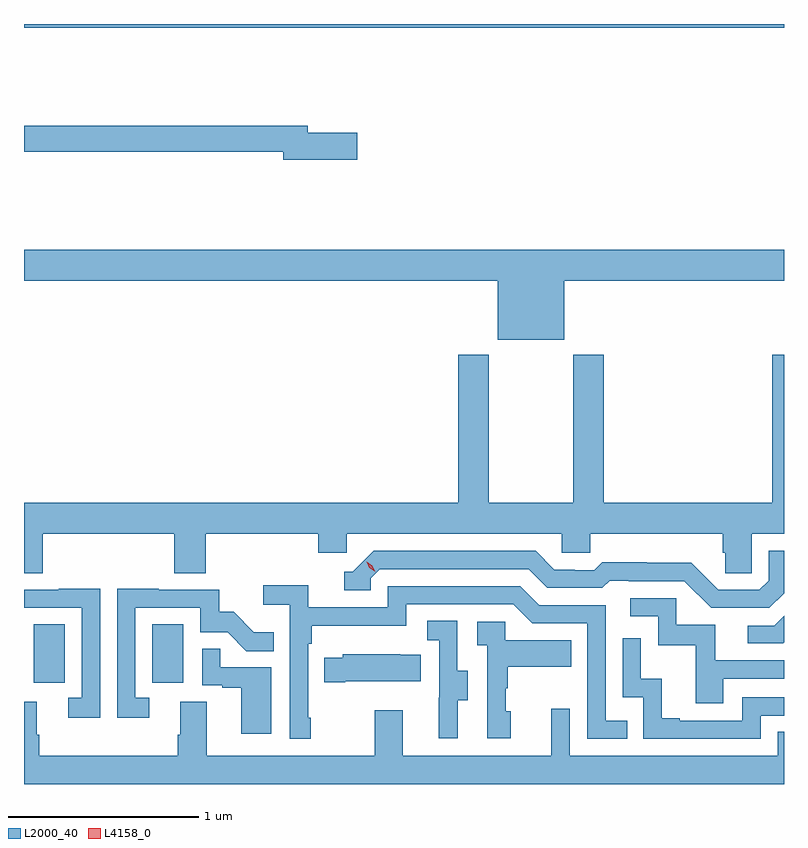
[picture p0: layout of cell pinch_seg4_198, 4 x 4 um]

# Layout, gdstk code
import gdstk
lib = gdstk.Library(unit=1e-6, precision=1e-09)
def R(c, l, rs):  # rectangles x0, y0, x1, y1
    for r in rs: c.add(gdstk.rectangle(r[:2], r[2:], *l))
def P(c, l, *ps):  # polygons
    for p in ps: c.add(gdstk.Polygon(p, *l))
L2000_40 = (2000, 40)
L4158_0 = (4158, 0)

pinch_seg4_198 = lib.new_cell('pinch_seg4_198')
R(pinch_seg4_198, L2000_40, [(975.218,817.35,975.382,817.657), (975.842,817.35,976.006,817.657), (975.167,820.796,979.167,820.816)])
P(pinch_seg4_198, L2000_40, [(976.921,820.244),(976.66,820.244),(976.66,820.28),(975.167,820.28),(975.167,820.144),(976.532,820.144),(976.532,820.102),(976.921,820.102)],
  [(978.01,819.464),(979.167,819.464),(979.167,819.628),(975.167,819.628),(975.167,819.464),(977.66,819.464),(977.66,819.155),(978.01,819.155)],
  [(975.167,817.924),(975.266,817.924),(975.266,818.132),(975.959,818.132),(975.959,817.924),(976.124,817.924),(976.124,818.132),(976.715,818.132),(976.715,818.034),(976.866,818.034),(976.866,818.132),(977.997,818.132),(977.997,818.034),(978.147,818.034),(978.147,818.132),(978.845,818.132),(978.845,818.034),(978.859,818.034),(978.859,817.924),(978.996,817.924),(978.996,818.132),(979.167,818.132),(979.167,819.075),(979.106,819.075),(979.106,818.296),(978.218,818.296),(978.218,819.076),(978.058,819.076),(978.058,818.296),(977.613,818.296),(977.613,819.076),(977.453,819.076),(977.453,818.296),(975.167,818.296)],
  [(979.167,817.821),(979.167,818.043),(979.086,818.043),(979.086,817.887),(979.038,817.839),(978.822,817.839),(978.68,817.981),(978.444,817.981),(978.444,817.984),(978.211,817.984),(978.169,817.941),(978.066,817.941),(978.066,817.944),(977.959,817.944),(977.86,818.043),(977.007,818.043),(976.896,817.932),(976.853,817.932),(976.853,817.836),(976.992,817.836),(976.992,817.899),(977.04,817.947),(977.823,817.947),(977.922,817.848),(978.211,817.848),(978.25,817.887),(978.349,817.887),(978.349,817.884),(978.642,817.884),(978.783,817.743),(979.089,817.743)],
  [(976.675,817.165),(976.662,817.165),(976.662,817.553),(976.682,817.553),(976.682,817.649),(977.178,817.649),(977.178,817.761),(977.742,817.761),(977.841,817.662),(978.132,817.662),(978.132,817.053),(978.341,817.053),(978.341,817.149),(978.228,817.149),(978.228,817.758),(977.878,817.758),(977.779,817.857),(977.082,817.857),(977.082,817.746),(976.664,817.746),(976.664,817.862),(976.425,817.862),(976.425,817.76),(976.566,817.76),(976.566,817.053),(976.675,817.053)],
  [(975.826,817.269),(975.753,817.269),(975.753,817.743),(976.095,817.743),(976.095,817.614),(976.239,817.614),(976.337,817.516),(976.481,817.516),(976.481,817.615),(976.377,817.615),(976.27,817.722),(976.194,817.722),(976.194,817.839),(975.875,817.839),(975.875,817.844),(975.657,817.844),(975.657,817.164),(975.826,817.164)],
  [(975.567,817.844),(975.349,817.844),(975.349,817.839),(975.167,817.839),(975.167,817.743),(975.471,817.743),(975.471,817.269),(975.399,817.269),(975.399,817.164),(975.567,817.164)],
  [(978.847,817.371),(979.167,817.371),(979.167,817.467),(978.805,817.467),(978.805,817.653),(978.6,817.653),(978.6,817.794),(978.357,817.794),(978.357,817.698),(978.504,817.698),(978.504,817.545),(978.703,817.545),(978.703,817.242),(978.847,817.242)],
  [(979.167,817.562),(979.167,817.701),(979.116,817.65),(978.975,817.65),(978.975,817.557),(979.162,817.557)],
  [(977.449,817.258),(977.503,817.258),(977.503,817.413),(977.448,817.413),(977.448,817.676),(977.289,817.676),(977.289,817.573),(977.352,817.573),(977.352,817.269),(977.351,817.269),(977.351,817.056),(977.449,817.056)],
  [(977.728,817.2),(977.703,817.2),(977.703,817.319),(977.713,817.319),(977.713,817.433),(978.047,817.433),(978.047,817.573),(977.7,817.573),(977.7,817.671),(977.553,817.671),(977.553,817.547),(977.604,817.547),(977.604,817.056),(977.728,817.056)],
  [(979.044,817.176),(979.167,817.176),(979.167,817.272),(978.948,817.272),(978.948,817.149),(978.619,817.149),(978.619,817.162),(978.524,817.162),(978.524,817.37),(978.414,817.37),(978.414,817.582),(978.318,817.582),(978.318,817.272),(978.426,817.272),(978.426,817.053),(979.044,817.053)],
  [(976.468,817.431),(976.199,817.431),(976.199,817.529),(976.104,817.529),(976.104,817.335),(976.211,817.335),(976.211,817.323),(976.31,817.323),(976.31,817.08),(976.468,817.08)],
  [(976.858,817.358),(977.255,817.358),(977.255,817.495),(977.147,817.495),(977.147,817.498),(976.845,817.498),(976.845,817.48),(976.747,817.48),(976.747,817.351),(976.858,817.351)],
  [(979.167,817.091),(979.134,817.091),(979.134,816.964),(978.039,816.964),(978.039,817.213),(977.942,817.213),(977.942,816.964),(977.161,816.964),(977.161,817.204),(977.014,817.204),(977.014,816.964),(976.129,816.964),(976.129,817.25),(975.989,817.25),(975.989,817.076),(975.977,817.076),(975.977,816.964),(975.248,816.964),(975.248,817.076),(975.235,817.076),(975.235,817.25),(975.167,817.25),(975.167,816.816),(979.167,816.816)])
P(pinch_seg4_198, L4158_0, [(977.016,817.933),(976.985,817.953),(976.97,817.986),(976.97,817.986),(976.97,817.986),(977,817.966),(977.016,817.934),(977.016,817.933)])

lib.write_gds('pinch_seg4_198.gds')
